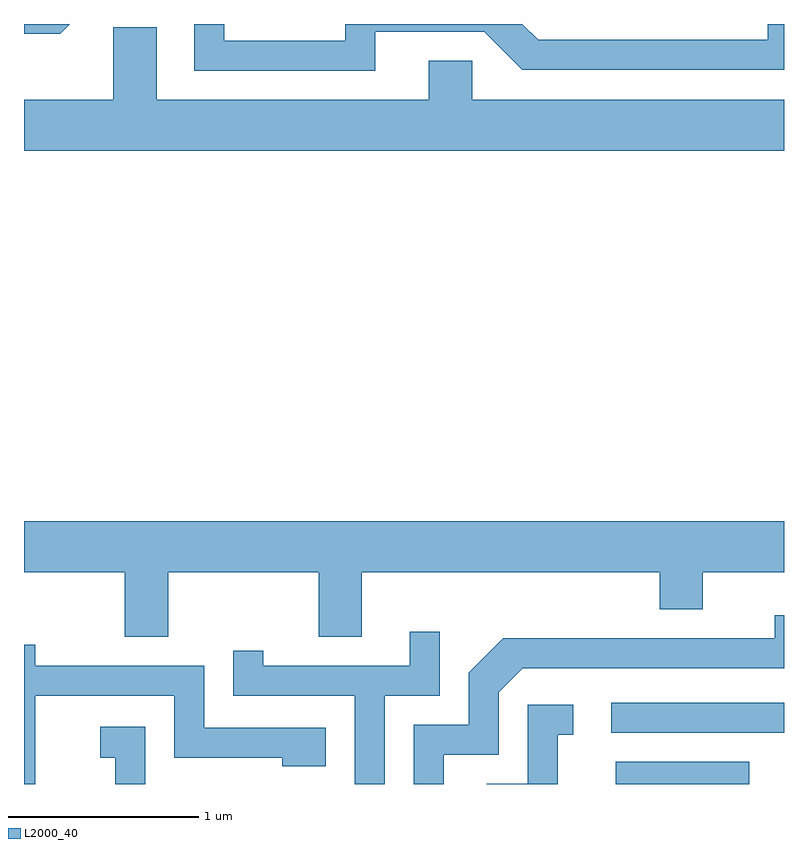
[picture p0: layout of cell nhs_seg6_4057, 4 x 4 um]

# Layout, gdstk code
import gdstk
lib = gdstk.Library(unit=1e-6, precision=1e-09)
def R(c, l, rs):  # rectangles x0, y0, x1, y1
    for r in rs: c.add(gdstk.rectangle(r[:2], r[2:], *l))
def P(c, l, *ps):  # polygons
    for p in ps: c.add(gdstk.Polygon(p, *l))
L2000_40 = (2000, 40)

nhs_seg6_4057 = lib.new_cell('nhs_seg6_4057')
R(nhs_seg6_4057, L2000_40, [(310.726,1642.162,311.428,1642.279), (310.703,1642.431,311.611,1642.589)])
P(nhs_seg6_4057, L2000_40, [(309.459,1646.121),(310.034,1646.121),(310.234,1645.921),(311.611,1645.921),(311.611,1646.162),(311.526,1646.162),(311.526,1646.079),(310.317,1646.079),(310.234,1646.162),(309.301,1646.162),(309.301,1646.074),(308.664,1646.074),(308.664,1646.162),(308.506,1646.162),(308.506,1645.916),(309.459,1645.916)],
  [(307.853,1646.162),(307.611,1646.162),(307.611,1646.111),(307.802,1646.111)],
  [(311.611,1645.764),(309.969,1645.764),(309.969,1645.969),(309.741,1645.969),(309.741,1645.764),(308.309,1645.764),(308.309,1646.144),(308.081,1646.144),(308.081,1645.764),(307.611,1645.764),(307.611,1645.496),(311.611,1645.496)],
  [(308.369,1643.276),(309.161,1643.276),(309.161,1642.936),(309.389,1642.936),(309.389,1643.276),(310.956,1643.276),(310.956,1643.081),(311.184,1643.081),(311.184,1643.276),(311.611,1643.276),(311.611,1643.544),(307.611,1643.544),(307.611,1643.276),(308.141,1643.276),(308.141,1642.936),(308.369,1642.936)],
  [(309.819,1642.316),(310.109,1642.316),(310.109,1642.644),(310.237,1642.771),(311.611,1642.771),(311.611,1643.049),(311.561,1643.049),(311.561,1642.929),(310.134,1642.929),(309.951,1642.747),(309.951,1642.474),(309.661,1642.474),(309.661,1642.162),(309.819,1642.162)],
  [(309.509,1642.626),(309.799,1642.626),(309.799,1642.963),(309.641,1642.963),(309.641,1642.784),(308.869,1642.784),(308.869,1642.863),(308.711,1642.863),(308.711,1642.626),(309.351,1642.626),(309.351,1642.162),(309.509,1642.162)],
  [(307.669,1642.626),(308.401,1642.626),(308.401,1642.301),(308.971,1642.301),(308.971,1642.256),(309.199,1642.256),(309.199,1642.459),(308.559,1642.459),(308.559,1642.784),(307.669,1642.784),(307.669,1642.894),(307.611,1642.894),(307.611,1642.162),(307.669,1642.162)],
  [(310.419,1642.421),(310.503,1642.421),(310.503,1642.579),(310.261,1642.579),(310.261,1642.164),(310.046,1642.164),(310.046,1642.162),(310.419,1642.162)],
  [(308.249,1642.464),(308.013,1642.464),(308.013,1642.301),(308.091,1642.301),(308.091,1642.162),(308.249,1642.162)])

lib.write_gds('nhs_seg6_4057.gds')
